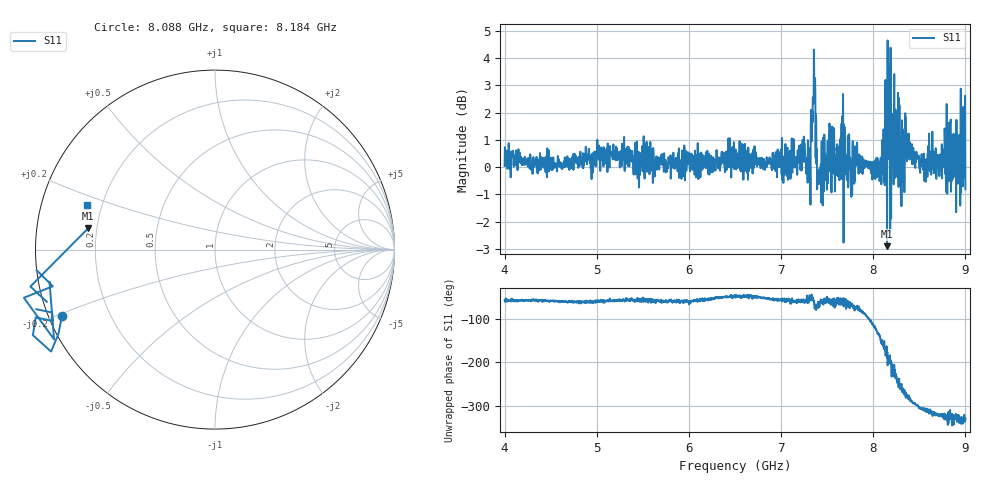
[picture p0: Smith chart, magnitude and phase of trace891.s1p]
! Created with skrf 1.8.0 (http://scikit-rf.org).
# Hz S RI R 50.0
!freq ReS11 ImS11
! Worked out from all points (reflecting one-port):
!   1601 points, 4 GHz to 9 GHz, reference 50 ohm
!   lowest |S11| = -2.9 dB at 8.15 GHz (marker M1), VSWR 6.05, Z = 8.32 + j4.06 ohm
!   phase of S11 starts at -57 deg and turns -271 deg over the sweep
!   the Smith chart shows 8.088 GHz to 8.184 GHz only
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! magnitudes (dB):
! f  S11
! 4 GHz  0.0
! 4.625 GHz  -0.1
! 5.25 GHz  0.0
! 5.875 GHz  0.0
! 6.5 GHz  0.5
! 7.125 GHz  0.6
! 7.238 GHz  0.6
! 7.294 GHz  0.7
! 7.347 GHz  2.5
! 7.369 GHz  3.3
! 7.409 GHz  -0.2
! 7.512 GHz  0.8
! 7.609 GHz  0.8
! 7.65 GHz  1.1
! 7.75 GHz  0.4
! 8.066 GHz  0.1
! 8.125 GHz  -0.7
! 8.15 GHz  -2.9
! 8.178 GHz  2.7
! 8.209 GHz  0.3
! 8.262 GHz  -0.4
! 8.316 GHz  0.3
! 8.334 GHz  -0.1
! 8.375 GHz  0.6
! 8.562 GHz  -0.5
! 8.919 GHz  -0.6
! 8.972 GHz  0.6
! 9 GHz  -0.8
